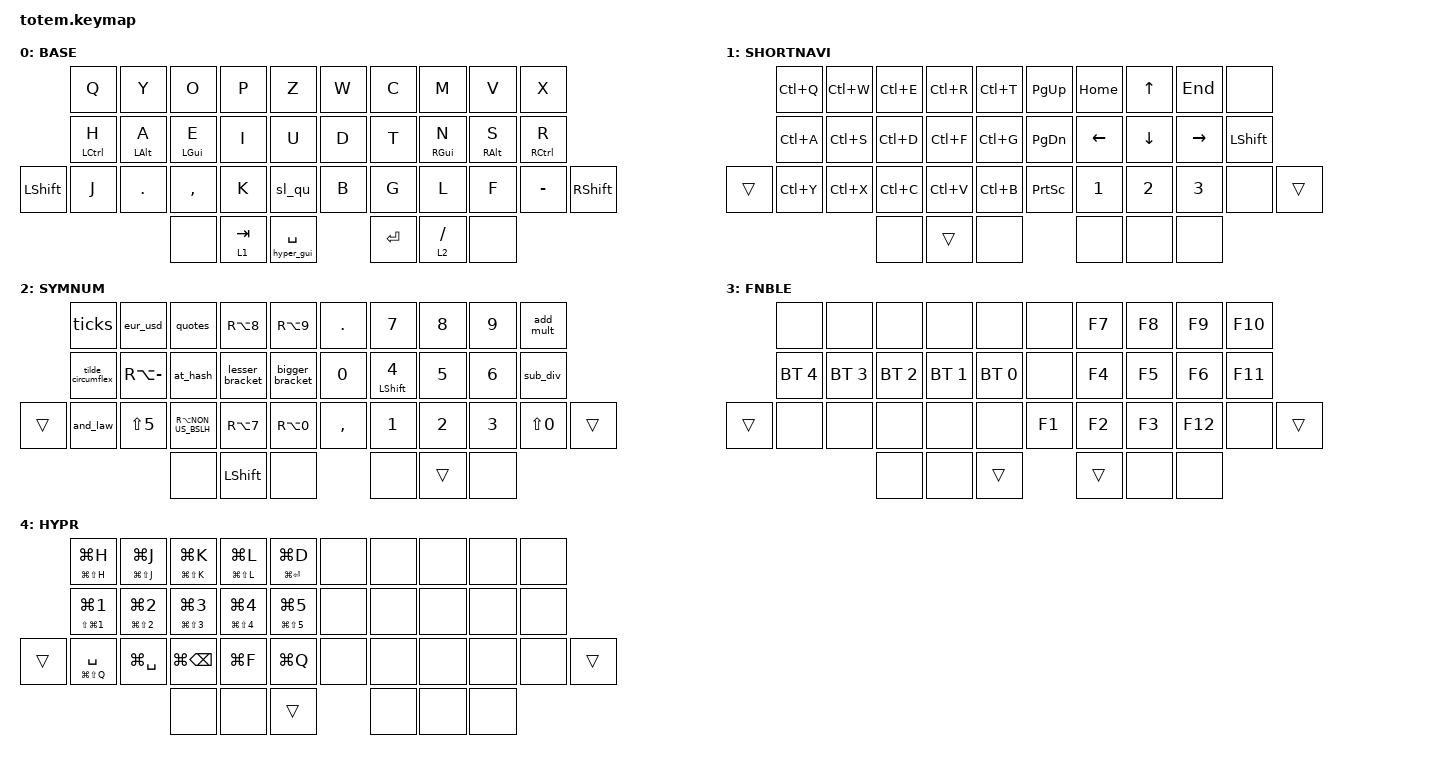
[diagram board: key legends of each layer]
//
//                                                        ▀▀▀▀▀     ▀▀▀▀▀          ▀▀█▀▀
//                                                        ▄▀▀▀▄  ▄  ▄▀▀▀▄  ▄  ▄▀▀▀▄  █  ▄▀▀▀▄
//                                                        █   █  █  █   █  █  █   █  █  █   █
//                                                         ▀▀▀   █   ▀▀▀   █   ▀▀▀   ▀   ▀▀▀
//                                                               █      ▄▄▄█▄▄▄    █   █
//                                                               ▀      █  █  █     █▄█
//                                                             ▀▀▀▀▀    █  █  █      ▀
//                                                                      ▀  ▀  ▀
//
// ▄▄▄▄▄▄▄▄▄▄▄▄▄▄▄▄▄▄▄▄▄▄▄▄▄▄▄▄▄▄▄▄▄▄▄▄▄▄▄▄▄▄▄▄▄▄▄▄▄▄▄▄▄▄▄▄▄▄▄▄▄▄▄▄▄▄▄▄▄▄▄▄▄▄▄▄▄▄▄▄▄▄▄▄▄▄▄▄▄▄▄▄▄▄▄▄▄▄▄▄▄▄▄▄▄▄▄▄▄▄▄▄▄▄▄▄▄▄▄▄▄▄▄▄▄▄▄▄▄▄▄▄▄▄▄▄▄▄▄▄▄▄▄▄▄▄▄▄▄▄▄▄▄▄▄▄▄▄▄▄▄▄▄▄▄▄▄▄▄▄▄▄▄▄▄▄▄▄▄▄▄▄▄▄▄▄▄▄▄▄▄▄▄▄▄▄▄▄▄▄▄▄
//
// Keymap ported from the author's urchin config (see TOTEM_PORT_SPEC.md).
// OS keyboard layout = German (DE): the raw keycodes below are chosen to
// render German characters (umlauts, ß, §, € …) — do not read them as their
// US-ANSI legends.
//
// Totem key positions:
//
//   0  1  2  3  4     |     5  6  7  8  9      top row
//  10 11 12 13 14     |    15 16 17 18 19      home row
//  20 21 22 23 24 25  |   26 27 28 29 30 31    bottom row (20/31 = extra outer keys → dedicated Shift)
//        32 33 34     |      35 36 37          thumbs (32/37 unused, keys sit on the inner thumbs)
//
// Differences to a straight urchin port:
//  * Positions 20/31 (new bottom-outer keys) = dedicated plain Shift keys.
//  * Home-row Shift mod-taps (I / T) removed — Shift has its own keys now.
//  * Thumb keys sit on the inner thumb positions (33/34/35/36), the outer
//    thumbs (32/37) are unused.
//

#include <behaviors.dtsi>
#include <dt-bindings/zmk/keys.h>
#include <dt-bindings/zmk/modifiers.h>
#include <dt-bindings/zmk/bt.h>

#define BASE 0
#define SHORTNAVI 1
#define SYMNUM 2
// 3 = FNBLE — momentary via the Space+Enter combo, referenced as &mo 3
// 4 = HYPR  — activated by holding Space (hyper_space), referenced by hyper_gui

&mt {
    flavor = "balanced";
};

/ {
    combos {
        compatible = "zmk,combos";

        combo_escape {
            timeout-ms = <70>;
            key-positions = <1 2>;
            bindings = <&kp ESC>;
            layers = <BASE>;
        };

        combo_auml {
            timeout-ms = <70>;
            key-positions = <11 12>;
            bindings = <&kp APOSTROPHE>;   // ä
            layers = <BASE>;
        };

        combo_ouml {
            timeout-ms = <70>;
            key-positions = <2 12>;
            bindings = <&kp SEMICOLON>;    // ö
            layers = <BASE>;
        };

        combo_uuml {
            timeout-ms = <70>;
            key-positions = <12 14>;
            bindings = <&kp LEFT_BRACKET>; // ü
            layers = <BASE>;
        };

        combo_ei {
            timeout-ms = <70>;
            key-positions = <12 13>;
            bindings = <&ei_key>;
            layers = <BASE>;
        };

        combo_caps_word {
            timeout-ms = <50>;
            key-positions = <14 15>;
            bindings = <&caps_word>;
            layers = <BASE>;
        };

        // both inner thumbs (Space + Enter) — active on all layers
        combo_fn_ble {
            timeout-ms = <60>;
            key-positions = <34 35>;
            bindings = <&mo 3>;
        };

        // H + A + E + I together, while on FNBLE: clears the BT bond
        combo_del_ble {
            timeout-ms = <100>;
            key-positions = <10 11 12 13>;
            bindings = <&bt BT_CLR>;
            layers = <3>;
        };

        combo_backspace {
            timeout-ms = <70>;
            key-positions = <8 7>;
            bindings = <&kp BACKSPACE>;
            layers = <BASE 2>;
        };

        combo_delete {
            timeout-ms = <70>;
            key-positions = <24 23>;
            bindings = <&kp DELETE>;
            layers = <BASE>;
        };
    };

    macros {
        // hold Space: activates layer 4 (HYPR) and holds Super as long as held
        hyper_gui: hyper_gui {
            compatible = "zmk,behavior-macro";
            #binding-cells = <0>;
            bindings =
                <&macro_press &mo 4 &kp LGUI>,
                <&macro_pause_for_release>,
                <&macro_release &mo 4 &kp LGUI>;
        };

        ei_key: ei_key {
            compatible = "zmk,behavior-macro";
            #binding-cells = <0>;
            bindings = <&kp E &kp I>;
        };
    };

    behaviors {
        hyper_space: hyper_space {
            compatible = "zmk,behavior-hold-tap";
            bindings = <&hyper_gui>, <&kp>;
            flavor = "hold-preferred";
            #binding-cells = <2>;
            tapping-term-ms = <200>;
            quick-tap-ms = <400>;
        };

        // mod-morphs: first binding = normal, second = with Shift held
        // (all outputs are German-layout characters)
        sl_qu: sl_qu {
            compatible = "zmk,behavior-mod-morph";
            #binding-cells = <0>;
            bindings = <&kp LS(N7)>, <&kp LS(N1)>;           // /  →  !
            mods = <(MOD_LSFT|MOD_RSFT)>;
        };

        add_mult: add_mult {
            compatible = "zmk,behavior-mod-morph";
            #binding-cells = <0>;
            bindings = <&kp RIGHT_BRACKET>, <&kp LS(RIGHT_BRACKET)>;  // +  →  *
            mods = <(MOD_LSFT)>;
        };

        sub_div: sub_div {
            compatible = "zmk,behavior-mod-morph";
            #binding-cells = <0>;
            bindings = <&kp SLASH>, <&kp LS(N7)>;            // -  →  /
            mods = <(MOD_LSFT)>;
        };

        eur_usd: eur_usd {
            compatible = "zmk,behavior-mod-morph";
            #binding-cells = <0>;
            bindings = <&kp LS(N4)>, <&kp RA(E)>;            // $  →  €
            mods = <(MOD_LSFT)>;
        };

        tilde_circumflex: tilde_circumflex {
            compatible = "zmk,behavior-mod-morph";
            #binding-cells = <0>;
            bindings = <&kp RA(RIGHT_BRACKET)>, <&kp GRAVE>; // ~  →  ^
            mods = <(MOD_LSFT)>;
        };

        ticks: ticks {
            compatible = "zmk,behavior-mod-morph";
            #binding-cells = <0>;
            bindings = <&kp EQUAL>, <&kp LS(EQUAL)>;         // ´  →  `
            mods = <(MOD_LSFT)>;
        };

        quotes: quotes {
            compatible = "zmk,behavior-mod-morph";
            #binding-cells = <0>;
            bindings = <&kp LS(BACKSLASH)>, <&kp LS(N2)>;    // '  →  "
            mods = <(MOD_LSFT)>;
        };

        lesser_bracket: lesser_bracket {
            compatible = "zmk,behavior-mod-morph";
            #binding-cells = <0>;
            bindings = <&kp LS(N8)>, <&kp NON_US_BSLH>;      // (  →  <
            mods = <(MOD_LSFT)>;
        };

        bigger_bracket: bigger_bracket {
            compatible = "zmk,behavior-mod-morph";
            #binding-cells = <0>;
            bindings = <&kp LS(N9)>, <&kp LS(NON_US_BSLH)>;  // )  →  >
            mods = <(MOD_LSFT)>;
        };

        and_law: and_law {
            compatible = "zmk,behavior-mod-morph";
            #binding-cells = <0>;
            bindings = <&kp LS(N6)>, <&kp LS(N3)>;           // &  →  §
            mods = <(MOD_LSFT)>;
        };

        at_hash: at_hash {
            compatible = "zmk,behavior-mod-morph";
            #binding-cells = <0>;
            bindings = <&kp RA(Q)>, <&kp NUHS>;              // @  →  #
            mods = <(MOD_LSFT)>;
        };
    };

    keymap {
        compatible = "zmk,keymap";

        // ▄▄▄▄▄▄▄▄▄▄▄▄▄▄▄▄▄▄▄▄▄▄▄▄▄▄▄▄▄▄▄▄▄▄▄▄▄▄▄▄▄▄▄▄▄▄▄▄▄▄▄▄▄▄▄▄▄▄▄▄▄▄▄▄▄▄▄▄▄▄▄▄▄▄▄▄▄▄▄▄▄▄▄▄▄▄▄▄▄▄▄▄▄▄▄▄▄▄▄▄▄▄▄▄▄▄▄▄▄▄▄▄▄▄▄▄▄▄▄▄▄▄▄▄▄▄▄▄▄▄▄▄▄▄▄▄▄▄▄▄▄▄▄▄▄▄▄▄▄▄▄▄▄▄▄▄▄▄▄▄▄▄▄▄▄▄▄▄▄▄▄▄▄▄▄▄▄▄▄▄▄▄▄▄▄▄▄▄

        base_layer {
            // ┏━━━━━━━━━━━━━━━━━━━━━━━━━━━━━━━━━━━━━━━┓

            label = "BASE";

            // ┗━━━━━━━━━━━━━━━━━━━━━━━━━━━━━━━━━━━━━━━┛
            //             ┏━━━━━━━━━━━┳━━━━━━━━━━━┳━━━━━━━━━━━┳━━━━━━━━━━━┳━━━━━━━━━━━┓   ┏━━━━━━━━━━━┳━━━━━━━━━━━┳━━━━━━━━━━━┳━━━━━━━━━━━┳━━━━━━━━━━━┓
            //             ┃     Q     ┃     Y     ┃     O     ┃     P     ┃     Z     ┃   ┃     W     ┃     C     ┃     M     ┃     V     ┃     X     ┃
            //             ┣━━━━━━━━━━━╋━━━━━━━━━━━╋━━━━━━━━━━━╋━━━━━━━━━━━╋━━━━━━━━━━━┫   ┣━━━━━━━━━━━╋━━━━━━━━━━━╋━━━━━━━━━━━╋━━━━━━━━━━━╋━━━━━━━━━━━┫
            //             ┃  CTRL+H   ┃   ALT+A   ┃   GUI+E   ┃     I     ┃     U     ┃   ┃     D     ┃     T     ┃   GUI+N   ┃  ALTGR+S  ┃  CTRL+R   ┃
            // ┏━━━━━━━━━━━╋━━━━━━━━━━━╋━━━━━━━━━━━╋━━━━━━━━━━━╋━━━━━━━━━━━╋━━━━━━━━━━━┫   ┣━━━━━━━━━━━╋━━━━━━━━━━━╋━━━━━━━━━━━╋━━━━━━━━━━━╋━━━━━━━━━━━╋━━━━━━━━━━━┓
            // ┃   SHIFT   ┃     J     ┃     .     ┃     ,     ┃     K     ┃     /     ┃   ┃     B     ┃     G     ┃     L     ┃     F     ┃     ß     ┃   SHIFT   ┃
            // ┗━━━━━━━━━━━┻━━━━━━━━━━━┻━━━━━━━━━━━╋━━━━━━━━━━━╋━━━━━━━━━━━╋━━━━━━━━━━━┫   ┣━━━━━━━━━━━╋━━━━━━━━━━━╋━━━━━━━━━━━╋━━━━━━━━━━━┻━━━━━━━━━━━┻━━━━━━━━━━━┛
            //                                     ┃  (none)   ┃  TAB/L1   ┃  SPC/HYP  ┃   ┃   ENTER   ┃   -/L2    ┃  (none)   ┃
            //                                     ┗━━━━━━━━━━━┻━━━━━━━━━━━┻━━━━━━━━━━━┛   ┗━━━━━━━━━━━┻━━━━━━━━━━━┻━━━━━━━━━━━┛
            //
            // home row holds: CTRL / ALT / GUI / ALTGR / CTRL
            // thumb holds:    TAB → layer 1, SPC → layer 4 + Super (hyper), - → layer 2
            // bottom-outer keys: plain Shift (replaces the home-row shift mod-taps)

            bindings = <
//  0           1           2           3           4               5           6           7           8           9
                &kp Q       &kp Y       &kp O       &kp P       &kp Z           &kp W       &kp C       &kp M       &kp V       &kp X
//  10          11          12          13          14              15          16          17          18          19
                &mt LCTRL H &mt LALT A  &mt LGUI E  &kp I       &kp U           &kp D       &kp T       &mt RGUI N  &mt RALT S  &mt RCTRL R
//  20          21          22          23          24          25          26          27          28          29          30          31
    &kp LSHIFT  &kp J       &kp PERIOD  &kp COMMA   &kp K       &sl_qu          &kp B       &kp G       &kp L       &kp F       &kp MINUS   &kp RSHIFT
//                                          32          33              34                    35          36            37
                                            &none       &lt 1 TAB   &hyper_space 0 SPACE    &kp RETURN  &lt 2 SLASH  &none
            >;
        };

        // ▄▄▄▄▄▄▄▄▄▄▄▄▄▄▄▄▄▄▄▄▄▄▄▄▄▄▄▄▄▄▄▄▄▄▄▄▄▄▄▄▄▄▄▄▄▄▄▄▄▄▄▄▄▄▄▄▄▄▄▄▄▄▄▄▄▄▄▄▄▄▄▄▄▄▄▄▄▄▄▄▄▄▄▄▄▄▄▄▄▄▄▄▄▄▄▄▄▄▄▄▄▄▄▄▄▄▄▄▄▄▄▄▄▄▄▄▄▄▄▄▄▄▄▄▄▄▄▄▄▄▄▄▄▄▄▄▄▄▄▄▄▄▄▄▄▄▄▄▄▄▄▄▄▄▄▄▄▄▄▄▄▄▄▄▄▄▄▄▄▄▄▄▄▄▄▄▄▄▄▄▄▄▄▄▄▄▄▄▄▄▄▄▄▄▄

        shortnavi_layer {
            // ┏━━━━━━━━━━━━━━━━━━━━━━━━━━━━━━━━━━━━━━━┓

            label = "SHORTNAVI";

            // ┗━━━━━━━━━━━━━━━━━━━━━━━━━━━━━━━━━━━━━━━┛
            //             ┏━━━━━━━━━━━┳━━━━━━━━━━━┳━━━━━━━━━━━┳━━━━━━━━━━━┳━━━━━━━━━━━┓   ┏━━━━━━━━━━━┳━━━━━━━━━━━┳━━━━━━━━━━━┳━━━━━━━━━━━┳━━━━━━━━━━━┓
            //             ┃    C+Q    ┃    C+W    ┃    C+E    ┃    C+R    ┃    C+T    ┃   ┃   PGUP    ┃   HOME    ┃     UP    ┃    END    ┃  (none)   ┃
            //             ┣━━━━━━━━━━━╋━━━━━━━━━━━╋━━━━━━━━━━━╋━━━━━━━━━━━╋━━━━━━━━━━━┫   ┣━━━━━━━━━━━╋━━━━━━━━━━━╋━━━━━━━━━━━╋━━━━━━━━━━━╋━━━━━━━━━━━┫
            //             ┃    C+A    ┃    C+S    ┃    C+D    ┃    C+F    ┃    C+G    ┃   ┃   PGDN    ┃   LEFT    ┃   DOWN    ┃   RIGHT   ┃   SHIFT   ┃
            // ┏━━━━━━━━━━━╋━━━━━━━━━━━╋━━━━━━━━━━━╋━━━━━━━━━━━╋━━━━━━━━━━━╋━━━━━━━━━━━┫   ┣━━━━━━━━━━━╋━━━━━━━━━━━╋━━━━━━━━━━━╋━━━━━━━━━━━╋━━━━━━━━━━━╋━━━━━━━━━━━┓
            // ┃  (trans)  ┃    C+Y    ┃    C+X    ┃    C+C    ┃    C+V    ┃    C+B    ┃   ┃   PSCR    ┃     1     ┃     2     ┃     3     ┃  (none)   ┃  (trans)  ┃
            // ┗━━━━━━━━━━━┻━━━━━━━━━━━┻━━━━━━━━━━━╋━━━━━━━━━━━╋━━━━━━━━━━━╋━━━━━━━━━━━┫   ┣━━━━━━━━━━━╋━━━━━━━━━━━╋━━━━━━━━━━━╋━━━━━━━━━━━┻━━━━━━━━━━━┻━━━━━━━━━━━┛
            //                                     ┃  (none)   ┃  (trans)  ┃  (none)   ┃   ┃  (none)   ┃  (none)   ┃  (none)   ┃
            //                                     ┗━━━━━━━━━━━┻━━━━━━━━━━━┻━━━━━━━━━━━┛   ┗━━━━━━━━━━━┻━━━━━━━━━━━┻━━━━━━━━━━━┛
            //
            // C+X = Ctrl+X (layout-independent); reached by holding the TAB thumb

            bindings = <
//  0           1           2           3           4               5           6           7           8           9
                &kp LC(Q)   &kp LC(W)   &kp LC(E)   &kp LC(R)   &kp LC(T)       &kp PAGE_UP &kp HOME    &kp UP      &kp END     &none
//  10          11          12          13          14              15          16          17          18          19
                &kp LC(A)   &kp LC(S)   &kp LC(D)   &kp LC(F)   &kp LC(G)       &kp PAGE_DOWN &kp LEFT  &kp DOWN    &kp RIGHT   &kp LSHIFT
//  20          21          22          23          24          25          26          27          28          29          30          31
    &trans      &kp LC(Y)   &kp LC(X)   &kp LC(C)   &kp LC(V)   &kp LC(B)       &kp PRINTSCREEN &kp N1  &kp N2      &kp N3      &none       &trans
//                                          32          33          34          35          36          37
                                            &none   &trans      &none       &none       &none       &none
            >;
        };

        // ▄▄▄▄▄▄▄▄▄▄▄▄▄▄▄▄▄▄▄▄▄▄▄▄▄▄▄▄▄▄▄▄▄▄▄▄▄▄▄▄▄▄▄▄▄▄▄▄▄▄▄▄▄▄▄▄▄▄▄▄▄▄▄▄▄▄▄▄▄▄▄▄▄▄▄▄▄▄▄▄▄▄▄▄▄▄▄▄▄▄▄▄▄▄▄▄▄▄▄▄▄▄▄▄▄▄▄▄▄▄▄▄▄▄▄▄▄▄▄▄▄▄▄▄▄▄▄▄▄▄▄▄▄▄▄▄▄▄▄▄▄▄▄▄▄▄▄▄▄▄▄▄▄▄▄▄▄▄▄▄▄▄▄▄▄▄▄▄▄▄▄▄▄▄▄▄▄▄▄▄▄▄▄▄▄▄▄

        symnum_layer {
            // ┏━━━━━━━━━━━━━━━━━━━━━━━━━━━━━━━━━━━━━━━┓

            label = "SYMNUM";

            // ┗━━━━━━━━━━━━━━━━━━━━━━━━━━━━━━━━━━━━━━━┛
            //             ┏━━━━━━━━━━━┳━━━━━━━━━━━┳━━━━━━━━━━━┳━━━━━━━━━━━┳━━━━━━━━━━━┓   ┏━━━━━━━━━━━┳━━━━━━━━━━━┳━━━━━━━━━━━┳━━━━━━━━━━━┳━━━━━━━━━━━┓
            //             ┃   ´ / `   ┃   $ / €   ┃   ' / "   ┃     [     ┃     ]     ┃   ┃     .     ┃     7     ┃     8     ┃     9     ┃   + / *   ┃
            //             ┣━━━━━━━━━━━╋━━━━━━━━━━━╋━━━━━━━━━━━╋━━━━━━━━━━━╋━━━━━━━━━━━┫   ┣━━━━━━━━━━━╋━━━━━━━━━━━╋━━━━━━━━━━━╋━━━━━━━━━━━╋━━━━━━━━━━━┫
            //             ┃   ~ / ^   ┃     \     ┃   @ / #   ┃   ( / <   ┃   ) / >   ┃   ┃     0     ┃     4     ┃     5     ┃     6     ┃   - / /   ┃
            // ┏━━━━━━━━━━━╋━━━━━━━━━━━╋━━━━━━━━━━━╋━━━━━━━━━━━╋━━━━━━━━━━━╋━━━━━━━━━━━┫   ┣━━━━━━━━━━━╋━━━━━━━━━━━╋━━━━━━━━━━━╋━━━━━━━━━━━╋━━━━━━━━━━━╋━━━━━━━━━━━┓
            // ┃  (trans)  ┃   & / §   ┃     %     ┃     |     ┃     {     ┃     }     ┃   ┃     ,     ┃     1     ┃     2     ┃     3     ┃     =     ┃  (trans)  ┃
            // ┗━━━━━━━━━━━┻━━━━━━━━━━━┻━━━━━━━━━━━╋━━━━━━━━━━━╋━━━━━━━━━━━╋━━━━━━━━━━━┫   ┣━━━━━━━━━━━╋━━━━━━━━━━━╋━━━━━━━━━━━╋━━━━━━━━━━━┻━━━━━━━━━━━┻━━━━━━━━━━━┛
            //                                     ┃  (none)   ┃   SHIFT   ┃  (none)   ┃   ┃  (none)   ┃  (trans)  ┃  (none)   ┃
            //                                     ┗━━━━━━━━━━━┻━━━━━━━━━━━┻━━━━━━━━━━━┛   ┗━━━━━━━━━━━┻━━━━━━━━━━━┻━━━━━━━━━━━┛
            //
            // x / y = normal / with Shift held (mod-morphs)
            // reached by holding the right-outer thumb (-); TAB thumb = Shift on this layer

            bindings = <
//  0           1           2           3           4               5           6           7           8           9
                &ticks      &eur_usd    &quotes     &kp RA(N8)  &kp RA(N9)      &kp PERIOD  &kp N7      &kp N8      &kp N9      &add_mult
//  10          11          12          13          14              15          16          17          18          19
                &tilde_circumflex &kp RA(MINUS) &at_hash &lesser_bracket &bigger_bracket &kp N0  &mt LSHIFT N4 &kp N5    &kp N6      &sub_div
//  20          21          22          23          24          25          26          27          28          29          30          31
    &trans      &and_law    &kp LS(N5)  &kp RA(NON_US_BSLH) &kp RA(N7) &kp RA(N0) &kp COMMA &kp N1    &kp N2      &kp N3      &kp LS(N0)  &trans
//                                          32          33          34          35          36          37
                                            &none   &kp LSHIFT  &none       &none       &trans      &none
            >;
        };

        // ▄▄▄▄▄▄▄▄▄▄▄▄▄▄▄▄▄▄▄▄▄▄▄▄▄▄▄▄▄▄▄▄▄▄▄▄▄▄▄▄▄▄▄▄▄▄▄▄▄▄▄▄▄▄▄▄▄▄▄▄▄▄▄▄▄▄▄▄▄▄▄▄▄▄▄▄▄▄▄▄▄▄▄▄▄▄▄▄▄▄▄▄▄▄▄▄▄▄▄▄▄▄▄▄▄▄▄▄▄▄▄▄▄▄▄▄▄▄▄▄▄▄▄▄▄▄▄▄▄▄▄▄▄▄▄▄▄▄▄▄▄▄▄▄▄▄▄▄▄▄▄▄▄▄▄▄▄▄▄▄▄▄▄▄▄▄▄▄▄▄▄▄▄▄▄▄▄▄▄▄▄▄▄▄▄▄▄

        fnble_layer {
            // ┏━━━━━━━━━━━━━━━━━━━━━━━━━━━━━━━━━━━━━━━┓

            label = "FNBLE";

            // ┗━━━━━━━━━━━━━━━━━━━━━━━━━━━━━━━━━━━━━━━┛
            //             ┏━━━━━━━━━━━┳━━━━━━━━━━━┳━━━━━━━━━━━┳━━━━━━━━━━━┳━━━━━━━━━━━┓   ┏━━━━━━━━━━━┳━━━━━━━━━━━┳━━━━━━━━━━━┳━━━━━━━━━━━┳━━━━━━━━━━━┓
            //             ┃  (none)   ┃  (none)   ┃  (none)   ┃  (none)   ┃  (none)   ┃   ┃  (none)   ┃    F7     ┃    F8     ┃    F9     ┃    F10    ┃
            //             ┣━━━━━━━━━━━╋━━━━━━━━━━━╋━━━━━━━━━━━╋━━━━━━━━━━━╋━━━━━━━━━━━┫   ┣━━━━━━━━━━━╋━━━━━━━━━━━╋━━━━━━━━━━━╋━━━━━━━━━━━╋━━━━━━━━━━━┫
            //             ┃   BT 4    ┃   BT 3    ┃   BT 2    ┃   BT 1    ┃   BT 0    ┃   ┃  (none)   ┃    F4     ┃    F5     ┃    F6     ┃    F11    ┃
            // ┏━━━━━━━━━━━╋━━━━━━━━━━━╋━━━━━━━━━━━╋━━━━━━━━━━━╋━━━━━━━━━━━╋━━━━━━━━━━━┫   ┣━━━━━━━━━━━╋━━━━━━━━━━━╋━━━━━━━━━━━╋━━━━━━━━━━━╋━━━━━━━━━━━╋━━━━━━━━━━━┓
            // ┃  (trans)  ┃  (none)   ┃  (none)   ┃  (none)   ┃  (none)   ┃  (none)   ┃   ┃    F1     ┃    F2     ┃    F3     ┃    F12    ┃  (none)   ┃  (trans)  ┃
            // ┗━━━━━━━━━━━┻━━━━━━━━━━━┻━━━━━━━━━━━╋━━━━━━━━━━━╋━━━━━━━━━━━╋━━━━━━━━━━━┫   ┣━━━━━━━━━━━╋━━━━━━━━━━━╋━━━━━━━━━━━╋━━━━━━━━━━━┻━━━━━━━━━━━┻━━━━━━━━━━━┛
            //                                     ┃  (none)   ┃  (none)   ┃  (trans)  ┃   ┃  (trans)  ┃  (none)   ┃  (none)   ┃
            //                                     ┗━━━━━━━━━━━┻━━━━━━━━━━━┻━━━━━━━━━━━┛   ┗━━━━━━━━━━━┻━━━━━━━━━━━┻━━━━━━━━━━━┛
            //
            // reached by holding both inner thumbs (Space + Enter);
            // del_ble combo (H A E I) clears the BT bond while on this layer

            bindings = <
//  0           1           2           3           4               5           6           7           8           9
                &none       &none       &none       &none       &none           &none       &kp F7      &kp F8      &kp F9      &kp F10
//  10          11          12          13          14              15          16          17          18          19
                &bt BT_SEL 4 &bt BT_SEL 3 &bt BT_SEL 2 &bt BT_SEL 1 &bt BT_SEL 0  &none       &kp F4      &kp F5      &kp F6      &kp F11
//  20          21          22          23          24          25          26          27          28          29          30          31
    &trans      &none       &none       &none       &none       &none           &kp F1      &kp F2      &kp F3      &kp F12     &none       &trans
//                                          32          33          34          35          36          37
                                            &none       &none       &trans      &trans      &none       &none
            >;
        };

        // ▄▄▄▄▄▄▄▄▄▄▄▄▄▄▄▄▄▄▄▄▄▄▄▄▄▄▄▄▄▄▄▄▄▄▄▄▄▄▄▄▄▄▄▄▄▄▄▄▄▄▄▄▄▄▄▄▄▄▄▄▄▄▄▄▄▄▄▄▄▄▄▄▄▄▄▄▄▄▄▄▄▄▄▄▄▄▄▄▄▄▄▄▄▄▄▄▄▄▄▄▄▄▄▄▄▄▄▄▄▄▄▄▄▄▄▄▄▄▄▄▄▄▄▄▄▄▄▄▄▄▄▄▄▄▄▄▄▄▄▄▄▄▄▄▄▄▄▄▄▄▄▄▄▄▄▄▄▄▄▄▄▄▄▄▄▄▄▄▄▄▄▄▄▄▄▄▄▄▄▄▄▄▄

        hypr_layer {
            // ┏━━━━━━━━━━━━━━━━━━━━━━━━━━━━━━━━━━━━━━━┓

            label = "HYPR";

            // ┗━━━━━━━━━━━━━━━━━━━━━━━━━━━━━━━━━━━━━━━┛
            //             ┏━━━━━━━━━━━┳━━━━━━━━━━━┳━━━━━━━━━━━┳━━━━━━━━━━━┳━━━━━━━━━━━┓   ┏━━━━━━━━━━━┳━━━━━━━━━━━┳━━━━━━━━━━━┳━━━━━━━━━━━┳━━━━━━━━━━━┓
            //             ┃    S+H    ┃    S+J    ┃    S+K    ┃    S+L    ┃    S+D    ┃   ┃  (none)   ┃  (none)   ┃  (none)   ┃  (none)   ┃  (none)   ┃
            //             ┣━━━━━━━━━━━╋━━━━━━━━━━━╋━━━━━━━━━━━╋━━━━━━━━━━━╋━━━━━━━━━━━┫   ┣━━━━━━━━━━━╋━━━━━━━━━━━╋━━━━━━━━━━━╋━━━━━━━━━━━╋━━━━━━━━━━━┫
            //             ┃    S+1    ┃    S+2    ┃    S+3    ┃    S+4    ┃    S+5    ┃   ┃  (none)   ┃  (none)   ┃  (none)   ┃  (none)   ┃  (none)   ┃
            // ┏━━━━━━━━━━━╋━━━━━━━━━━━╋━━━━━━━━━━━╋━━━━━━━━━━━╋━━━━━━━━━━━╋━━━━━━━━━━━┫   ┣━━━━━━━━━━━╋━━━━━━━━━━━╋━━━━━━━━━━━╋━━━━━━━━━━━╋━━━━━━━━━━━╋━━━━━━━━━━━┓
            // ┃  (trans)  ┃  SPC/S+Q  ┃   S+SPC   ┃   S+BS    ┃    S+F    ┃    S+Q    ┃   ┃  (none)   ┃  (none)   ┃  (none)   ┃  (none)   ┃  (none)   ┃  (trans)  ┃
            // ┗━━━━━━━━━━━┻━━━━━━━━━━━┻━━━━━━━━━━━╋━━━━━━━━━━━╋━━━━━━━━━━━╋━━━━━━━━━━━┫   ┣━━━━━━━━━━━╋━━━━━━━━━━━╋━━━━━━━━━━━╋━━━━━━━━━━━┻━━━━━━━━━━━┻━━━━━━━━━━━┛
            //                                     ┃  (none)   ┃  (none)   ┃  (trans)  ┃   ┃  (none)   ┃  (none)   ┃  (none)   ┃
            //                                     ┗━━━━━━━━━━━┻━━━━━━━━━━━┻━━━━━━━━━━━┛   ┗━━━━━━━━━━━┻━━━━━━━━━━━┻━━━━━━━━━━━┛
            //
            // reached by holding Space; Super is already held by the hyper-space macro
            // S = Super; tap = window command, hold = same command + Shift (move/resize)

            bindings = <
//  0           1           2           3           4               5           6           7           8           9
                &mt LG(LS(H)) LG(H) &mt LG(LS(J)) LG(J) &mt LG(LS(K)) LG(K) &mt LG(LS(L)) LG(L) &mt LG(ENTER) LG(D) &none &none  &none       &none       &none
//  10          11          12          13          14              15          16          17          18          19
                &mt LS(LG(N1)) LG(N1) &mt LG(LS(N2)) LG(N2) &mt LG(LS(N3)) LG(N3) &mt LG(LS(N4)) LG(N4) &mt LG(LS(N5)) LG(N5) &none &none &none &none &none
//  20          21          22          23          24          25          26          27          28          29          30          31
    &trans      &mt LG(LS(Q)) SPACE &kp LG(SPACE) &kp LG(BACKSPACE) &kp LG(F) &kp LG(Q) &none &none &none &none &none &trans
//                                          32          33          34          35          36          37
                                            &none       &none       &trans      &none       &none       &none
            >;
        };
    };
};
